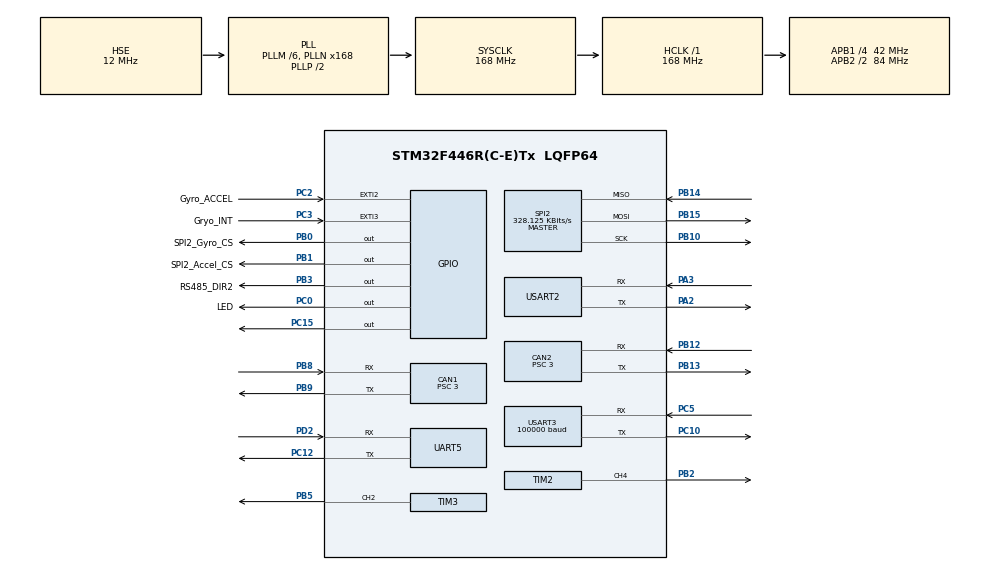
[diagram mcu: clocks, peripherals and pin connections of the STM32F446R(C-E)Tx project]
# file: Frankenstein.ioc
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CAN1.ABOM=ENABLE
CAN1.BS1=CAN_BS1_12TQ
CAN1.CalculateBaudRate=1000000
CAN1.CalculateTimeBit=1000
CAN1.CalculateTimeQuantum=71.42857142857143
CAN1.Prescaler=3
CAN2.ABOM=ENABLE
CAN2.BS1=CAN_BS1_12TQ
CAN2.CalculateBaudRate=1000000
CAN2.CalculateTimeBit=1000
CAN2.CalculateTimeQuantum=71.42857142857143
CAN2.Prescaler=3
Dma.Request0=SPI2_RX
Dma.Request1=SPI2_TX
Dma.Request2=UART5_RX
Dma.Request3=UART5_TX
Dma.Request4=USART2_RX
Dma.Request5=USART2_TX
Dma.Request6=USART3_RX
Dma.SPI2_RX.0.Direction=DMA_PERIPH_TO_MEMORY
Dma.SPI2_RX.0.FIFOMode=DMA_FIFOMODE_DISABLE
Dma.SPI2_RX.0.Instance=DMA1_Stream3
Dma.SPI2_RX.0.MemDataAlignment=DMA_MDATAALIGN_BYTE
Dma.SPI2_RX.0.MemInc=DMA_MINC_ENABLE
Dma.SPI2_RX.0.Mode=DMA_NORMAL
Dma.SPI2_RX.0.PeriphDataAlignment=DMA_PDATAALIGN_BYTE
Dma.SPI2_RX.0.PeriphInc=DMA_PINC_DISABLE
Dma.SPI2_RX.0.Priority=DMA_PRIORITY_VERY_HIGH
Dma.SPI2_TX.1.Direction=DMA_MEMORY_TO_PERIPH
Dma.SPI2_TX.1.FIFOMode=DMA_FIFOMODE_DISABLE
Dma.SPI2_TX.1.Instance=DMA1_Stream4
Dma.SPI2_TX.1.MemDataAlignment=DMA_MDATAALIGN_BYTE
Dma.SPI2_TX.1.MemInc=DMA_MINC_ENABLE
Dma.SPI2_TX.1.Mode=DMA_NORMAL
Dma.SPI2_TX.1.PeriphDataAlignment=DMA_PDATAALIGN_BYTE
Dma.SPI2_TX.1.PeriphInc=DMA_PINC_DISABLE
Dma.SPI2_TX.1.Priority=DMA_PRIORITY_HIGH
Dma.UART5_RX.2.Direction=DMA_PERIPH_TO_MEMORY
Dma.UART5_RX.2.FIFOMode=DMA_FIFOMODE_DISABLE
Dma.UART5_RX.2.Instance=DMA1_Stream0
Dma.UART5_RX.2.MemDataAlignment=DMA_MDATAALIGN_BYTE
Dma.UART5_RX.2.MemInc=DMA_MINC_ENABLE
Dma.UART5_RX.2.Mode=DMA_NORMAL
Dma.UART5_RX.2.PeriphDataAlignment=DMA_PDATAALIGN_BYTE
Dma.UART5_RX.2.PeriphInc=DMA_PINC_DISABLE
Dma.UART5_RX.2.Priority=DMA_PRIORITY_MEDIUM
Dma.UART5_TX.3.Direction=DMA_MEMORY_TO_PERIPH
Dma.UART5_TX.3.FIFOMode=DMA_FIFOMODE_DISABLE
Dma.UART5_TX.3.Instance=DMA1_Stream7
Dma.UART5_TX.3.MemDataAlignment=DMA_MDATAALIGN_BYTE
Dma.UART5_TX.3.MemInc=DMA_MINC_ENABLE
Dma.UART5_TX.3.Mode=DMA_NORMAL
Dma.UART5_TX.3.PeriphDataAlignment=DMA_PDATAALIGN_BYTE
Dma.UART5_TX.3.PeriphInc=DMA_PINC_DISABLE
Dma.UART5_TX.3.Priority=DMA_PRIORITY_MEDIUM
Dma.USART2_RX.4.Direction=DMA_PERIPH_TO_MEMORY
Dma.USART2_RX.4.FIFOMode=DMA_FIFOMODE_DISABLE
Dma.USART2_RX.4.Instance=DMA1_Stream5
Dma.USART2_RX.4.MemDataAlignment=DMA_MDATAALIGN_BYTE
Dma.USART2_RX.4.MemInc=DMA_MINC_ENABLE
Dma.USART2_RX.4.Mode=DMA_NORMAL
Dma.USART2_RX.4.PeriphDataAlignment=DMA_PDATAALIGN_BYTE
Dma.USART2_RX.4.PeriphInc=DMA_PINC_DISABLE
Dma.USART2_RX.4.Priority=DMA_PRIORITY_HIGH
Dma.USART2_TX.5.Direction=DMA_MEMORY_TO_PERIPH
Dma.USART2_TX.5.FIFOMode=DMA_FIFOMODE_DISABLE
Dma.USART2_TX.5.Instance=DMA1_Stream6
Dma.USART2_TX.5.MemDataAlignment=DMA_MDATAALIGN_BYTE
Dma.USART2_TX.5.MemInc=DMA_MINC_ENABLE
Dma.USART2_TX.5.Mode=DMA_NORMAL
Dma.USART2_TX.5.PeriphDataAlignment=DMA_PDATAALIGN_BYTE
Dma.USART2_TX.5.PeriphInc=DMA_PINC_DISABLE
Dma.USART2_TX.5.Priority=DMA_PRIORITY_HIGH
Dma.USART3_RX.6.Direction=DMA_PERIPH_TO_MEMORY
Dma.USART3_RX.6.FIFOMode=DMA_FIFOMODE_DISABLE
Dma.USART3_RX.6.Instance=DMA1_Stream1
Dma.USART3_RX.6.MemDataAlignment=DMA_MDATAALIGN_BYTE
Dma.USART3_RX.6.MemInc=DMA_MINC_ENABLE
Dma.USART3_RX.6.Mode=DMA_NORMAL
Dma.USART3_RX.6.PeriphDataAlignment=DMA_PDATAALIGN_BYTE
Dma.USART3_RX.6.PeriphInc=DMA_PINC_DISABLE
Dma.USART3_RX.6.Priority=DMA_PRIORITY_MEDIUM
FREERTOS.Tasks01=defaultTask,0,128,StartDefaultTask,Default,NULL,Dynamic,NULL,NULL
FREERTOS.configENABLE_FPU=1
FREERTOS.configUSE_NEWLIB_REENTRANT=1
Mcu.Family=STM32F4
Mcu.Name=STM32F446R(C-E)Tx
Mcu.Package=LQFP64
NVIC.CAN1_RX0_IRQn=true\:5\:0\:false\:false\:true\:true\:true\:true\:true
NVIC.CAN2_RX1_IRQn=true\:5\:0\:false\:false\:true\:true\:true\:true\:true
NVIC.DMA1_Stream0_IRQn=true\:5\:0\:false\:false\:true\:true\:false\:true\:true
NVIC.DMA1_Stream1_IRQn=true\:5\:0\:false\:false\:true\:true\:false\:true\:true
NVIC.DMA1_Stream3_IRQn=true\:5\:0\:false\:false\:true\:true\:false\:true\:true
NVIC.DMA1_Stream4_IRQn=true\:5\:0\:false\:false\:true\:true\:false\:true\:true
NVIC.DMA1_Stream5_IRQn=true\:5\:0\:false\:false\:true\:true\:false\:true\:true
NVIC.DMA1_Stream6_IRQn=true\:5\:0\:false\:false\:true\:true\:false\:true\:true
NVIC.DMA1_Stream7_IRQn=true\:5\:0\:false\:false\:true\:true\:false\:true\:true
NVIC.EXTI2_IRQn=true\:5\:0\:false\:false\:true\:true\:true\:true\:true
NVIC.EXTI3_IRQn=true\:5\:0\:false\:false\:true\:true\:true\:true\:true
NVIC.PriorityGroup=NVIC_PRIORITYGROUP_4
NVIC.TIM1_UP_TIM10_IRQn=true\:15\:0\:false\:false\:true\:false\:false\:true\:true
NVIC.TimeBase=TIM1_UP_TIM10_IRQn
NVIC.TimeBaseIP=TIM1
NVIC.UART5_IRQn=true\:5\:0\:false\:false\:true\:true\:true\:true\:true
NVIC.USART2_IRQn=true\:5\:0\:false\:false\:true\:true\:true\:true\:true
NVIC.USART3_IRQn=true\:5\:0\:false\:false\:true\:true\:true\:true\:true
PA13.Mode=Serial_Wire
PA13.Signal=SYS_JTMS-SWDIO
PA14.Mode=Serial_Wire
PA14.Signal=SYS_JTCK-SWCLK
PA2.Mode=Asynchronous
PA2.Signal=USART2_TX
PA3.Mode=Asynchronous
PA3.Signal=USART2_RX
PB0.GPIO_Label=SPI2_Gyro_CS
PB0.Signal=GPIO_Output
PB1.GPIO_Label=SPI2_Accel_CS
PB1.Signal=GPIO_Output
PB10.Mode=Full_Duplex_Master
PB10.Signal=SPI2_SCK
PB12.Mode=CAN_Activate
PB12.Signal=CAN2_RX
PB13.Mode=CAN_Activate
PB13.Signal=CAN2_TX
PB14.Mode=Full_Duplex_Master
PB14.Signal=SPI2_MISO
PB15.Mode=Full_Duplex_Master
PB15.Signal=SPI2_MOSI
PB2.Signal=S_TIM2_CH4
PB3.GPIO_Label=RS485_DIR2
PB3.GPIO_PuPd=GPIO_PULLDOWN
PB3.GPIO_Speed=GPIO_SPEED_FREQ_LOW
PB3.PinState=GPIO_PIN_RESET
PB3.Signal=GPIO_Output
PB5.Signal=S_TIM3_CH2
PB8.Mode=CAN_Activate
PB8.Signal=CAN1_RX
PB9.Mode=CAN_Activate
PB9.Signal=CAN1_TX
PC0.GPIO_Label=LED
PC0.Signal=GPIO_Output
PC10.Mode=Asynchronous
PC10.Signal=USART3_TX
PC12.Mode=Asynchronous
PC12.Signal=UART5_TX
PC15-OSC32_OUT.Signal=GPIO_Output
PC2.GPIO_Label=Gyro_ACCEL
PC2.GPIO_ModeDefaultEXTI=GPIO_MODE_IT_FALLING
PC2.GPIO_PuPd=GPIO_PULLUP
PC2.Signal=GPXTI2
PC3.GPIO_Label=Gryo_INT
PC3.GPIO_ModeDefaultEXTI=GPIO_MODE_IT_FALLING
PC3.GPIO_PuPd=GPIO_PULLUP
PC3.Signal=GPXTI3
PC5.Mode=Asynchronous
PC5.Signal=USART3_RX
PD2.Mode=Asynchronous
PD2.Signal=UART5_RX
PH0-OSC_IN.Mode=HSE-External-Oscillator
PH0-OSC_IN.Signal=RCC_OSC_IN
PH1-OSC_OUT.Mode=HSE-External-Oscillator
PH1-OSC_OUT.Signal=RCC_OSC_OUT
ProjectManager.HeapSize=0x1000
ProjectManager.StackSize=0x400
ProjectManager.TargetToolchain=STM32CubeIDE
RCC.AHBFreq_Value=168000000
RCC.APB1CLKDivider=RCC_HCLK_DIV4
RCC.APB1Freq_Value=42000000
RCC.APB1TimFreq_Value=84000000
RCC.APB2CLKDivider=RCC_HCLK_DIV2
RCC.APB2Freq_Value=84000000
RCC.APB2TimFreq_Value=168000000
RCC.CortexFreq_Value=168000000
RCC.HCLKFreq_Value=168000000
RCC.HSE_VALUE=12000000
RCC.PLLM=6
RCC.PLLN=168
RCC.PLLQ=7
RCC.PLLSourceVirtual=RCC_PLLSOURCE_HSE
RCC.SYSCLKFreq_VALUE=168000000
RCC.SYSCLKSource=RCC_SYSCLKSOURCE_PLLCLK
RCC.USBFreq_Value=48000000
RCC.VCOOutputFreq_Value=336000000
SH.S_TIM2_CH4.0=TIM2_CH4,PWM Generation4 CH4
SH.S_TIM3_CH2.0=TIM3_CH2,PWM Generation2 CH2
SPI2.BaudRatePrescaler=SPI_BAUDRATEPRESCALER_128
SPI2.CLKPhase=SPI_PHASE_2EDGE
SPI2.CLKPolarity=SPI_POLARITY_HIGH
SPI2.CalculateBaudRate=328.125 KBits/s
SPI2.Direction=SPI_DIRECTION_2LINES
SPI2.Mode=SPI_MODE_MASTER
SPI2.VirtualType=VM_MASTER
TIM2.Channel-PWM\ Generation4\ CH4=TIM_CHANNEL_4
TIM2.Period=29
TIM3.Channel-PWM\ Generation2\ CH2=TIM_CHANNEL_2
TIM3.Period=4999
UART5.VirtualMode=Asynchronous
USART2.VirtualMode=VM_ASYNC
USART3.BaudRate=100000
USART3.Mode=MODE_RX
USART3.VirtualMode=VM_ASYNC
USART3.WordLength=WORDLENGTH_9B
VP_FREERTOS_VS_CMSIS_V1.Mode=CMSIS_V1
VP_SYS_VS_tim1.Mode=TIM1
board=custom

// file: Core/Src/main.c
/* USER CODE BEGIN Header */
/**
  ******************************************************************************
  * @file           : main.c
  * @brief          : Main program body
  ******************************************************************************
  * @attention
  *
  * Copyright (c) 2023 STMicroelectronics.
  * All rights reserved.
  *
  * This software is licensed under terms that can be found in the LICENSE file
  * in the root directory of this software component.
  * If no LICENSE file comes with this software, it is provided AS-IS.
  *
  ******************************************************************************
  */
/* USER CODE END Header */
#include "main.h"
#include "cmsis_os.h"
#include "can.h"
#include "dma.h"
#include "spi.h"
#include "tim.h"
#include "usart.h"
#include "gpio.h"

/* USER CODE BEGIN Includes */
#include "music.h"
#include "BMI088driver.h"
/* USER CODE END Includes */

void SystemClock_Config(void);
void MX_FREERTOS_Init(void);

int main(void)
{

  /* MCU Configuration--------------------------------------------------------*/

  /* Reset of all peripherals, Initializes the Flash interface and the Systick. */
  HAL_Init();

  /* Configure the system clock */
  SystemClock_Config();

  /* Initialize all configured peripherals */
  MX_GPIO_Init();
  MX_DMA_Init();
  MX_TIM2_Init();
  MX_SPI2_Init();
  MX_TIM3_Init();
  MX_CAN1_Init();
  MX_CAN2_Init();
  MX_UART5_Init();
  MX_USART2_UART_Init();
  MX_USART3_UART_Init();

  /* Call init function for freertos objects (in freertos.c) */
  MX_FREERTOS_Init();

  /* Start scheduler */
  osKernelStart();

  /* We should never get here as control is now taken by the scheduler */
  /* Infinite loop */
  while (1)
  {

  }
}

void SystemClock_Config(void)
{
  RCC_OscInitTypeDef RCC_OscInitStruct = {0};
  RCC_ClkInitTypeDef RCC_ClkInitStruct = {0};

  /** Configure the main internal regulator output voltage
  */
  __HAL_RCC_PWR_CLK_ENABLE();
  __HAL_PWR_VOLTAGESCALING_CONFIG(PWR_REGULATOR_VOLTAGE_SCALE1);

  /** Initializes the RCC Oscillators according to the specified parameters
  * in the RCC_OscInitTypeDef structure.
  */
  RCC_OscInitStruct.OscillatorType = RCC_OSCILLATORTYPE_HSE;
  RCC_OscInitStruct.HSEState = RCC_HSE_ON;
  RCC_OscInitStruct.PLL.PLLState = RCC_PLL_ON;
  RCC_OscInitStruct.PLL.PLLSource = RCC_PLLSOURCE_HSE;
  RCC_OscInitStruct.PLL.PLLM = 6;
  RCC_OscInitStruct.PLL.PLLN = 168;
  RCC_OscInitStruct.PLL.PLLP = RCC_PLLP_DIV2;
  RCC_OscInitStruct.PLL.PLLQ = 7;
  RCC_OscInitStruct.PLL.PLLR = 2;
  if (HAL_RCC_OscConfig(&RCC_OscInitStruct) != HAL_OK)
  {
    Error_Handler();
  }

  /** Initializes the CPU, AHB and APB buses clocks
  */
  RCC_ClkInitStruct.ClockType = RCC_CLOCKTYPE_HCLK|RCC_CLOCKTYPE_SYSCLK
                              |RCC_CLOCKTYPE_PCLK1|RCC_CLOCKTYPE_PCLK2;
  RCC_ClkInitStruct.SYSCLKSource = RCC_SYSCLKSOURCE_PLLCLK;
  RCC_ClkInitStruct.AHBCLKDivider = RCC_SYSCLK_DIV1;
  RCC_ClkInitStruct.APB1CLKDivider = RCC_HCLK_DIV4;
  RCC_ClkInitStruct.APB2CLKDivider = RCC_HCLK_DIV2;

  if (HAL_RCC_ClockConfig(&RCC_ClkInitStruct, FLASH_LATENCY_5) != HAL_OK)
  {
    Error_Handler();
  }
}

void HAL_TIM_PeriodElapsedCallback(TIM_HandleTypeDef *htim)
{
  if (htim->Instance == TIM1) {
    HAL_IncTick();
  }
}

void Error_Handler(void)
{
  __disable_irq();
  while (1)
  {
  }
}

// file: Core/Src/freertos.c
/* USER CODE BEGIN Header */
/**
  ******************************************************************************
  * File Name          : freertos.c
  * Description        : Code for freertos applications
  ******************************************************************************
  * @attention
  *
  * Copyright (c) 2023 STMicroelectronics.
  * All rights reserved.
  *
  * This software is licensed under terms that can be found in the LICENSE file
  * in the root directory of this software component.
  * If no LICENSE file comes with this software, it is provided AS-IS.
  *
  ******************************************************************************
  */
/* USER CODE END Header */

#include "FreeRTOS.h"
#include "task.h"
#include "main.h"
#include "cmsis_os.h"

/* USER CODE BEGIN Includes */
#include "music.h"
#include "bsp_delay.h"
#include "CAN_receive_dm.h"
#include "can.h"
#include "lqr_wbr.h"
#include "vofa_setting.h"
#include "usart.h"
#include "ddt_m6_control.h"
#include "bsp_sbus.h"
/* USER CODE END Includes */

/* USER CODE BEGIN Variables */
osThreadId initTaskHandle;
osThreadId imuTaskHandle;
osThreadId vofaTaskHandle;
osThreadId lqrTaskHandle;

uint8_t board_init_flag = 0;
/* USER CODE END Variables */
osThreadId defaultTaskHandle;

/* USER CODE BEGIN FunctionPrototypes */
void InitBoardTask(void const * argument);
void StartImuTask(void const * argument);
void VofaOutputTask(void const * argument);
void LqrControlTask(void const * argument);
/* USER CODE END FunctionPrototypes */

void StartDefaultTask(void const * argument);

void MX_FREERTOS_Init(void); /* (MISRA C 2004 rule 8.1) */

/* GetIdleTaskMemory prototype (linked to static allocation support) */
void vApplicationGetIdleTaskMemory( StaticTask_t **ppxIdleTaskTCBBuffer, StackType_t **ppxIdleTaskStackBuffer, uint32_t *pulIdleTaskStackSize );

/* USER CODE BEGIN GET_IDLE_TASK_MEMORY */
static StaticTask_t xIdleTaskTCBBuffer;
static StackType_t xIdleStack[configMINIMAL_STACK_SIZE];

void vApplicationGetIdleTaskMemory( StaticTask_t **ppxIdleTaskTCBBuffer, StackType_t **ppxIdleTaskStackBuffer, uint32_t *pulIdleTaskStackSize )
{
  *ppxIdleTaskTCBBuffer = &xIdleTaskTCBBuffer;
  *ppxIdleTaskStackBuffer = &xIdleStack[0];
  *pulIdleTaskStackSize = configMINIMAL_STACK_SIZE;
  /* place for user code */
}
/* USER CODE END GET_IDLE_TASK_MEMORY */

void MX_FREERTOS_Init(void) {

  /* Create the thread(s) */
  /* definition and creation of defaultTask */
  osThreadDef(defaultTask, StartDefaultTask, osPriorityNormal, 0, 128);
  defaultTaskHandle = osThreadCreate(osThread(defaultTask), NULL);

  /* USER CODE BEGIN RTOS_THREADS */
  /* add threads, ... */
  osThreadDef(initTask, InitBoardTask, osPriorityIdle, 0, 128);                 //INIT task start
  initTaskHandle = osThreadCreate(osThread(initTask), NULL);

  osThreadDef(vofaTask, VofaOutputTask, osPriorityLow, 0, 128);                 //VOFA task start
  vofaTaskHandle = osThreadCreate(osThread(vofaTask), NULL);

  osThreadDef(imuTask, StartImuTask, osPriorityNormal, 0, 128);                 //IMU task start
  imuTaskHandle = osThreadCreate(osThread(imuTask), NULL);

  osThreadDef(lqrTask, LqrControlTask, osPriorityHigh, 0, 512);                //CONTROL task start
  lqrTaskHandle = osThreadCreate(osThread(lqrTask), NULL);
  /* USER CODE END RTOS_THREADS */

}

void StartDefaultTask(void const * argument)
{
  for(;;)
  {
      osDelay(1);
  }
}

/* USER CODE BEGIN Application */
/**
* @brief Function implementing the InitBoardTask thread.
* @param argument: Not used
* @retval None
*/
/**
  * @brief Function 初始化
  * @param argument: Not used
  * @retval none
  */
void InitBoardTask(void const * argument)
{
    delay_init();                                                //延时函数初始化
    CAN_Filter_Init(2);                              //CAN初始化
    HAL_GPIO_WritePin(LED_GPIO_Port,LED_Pin,GPIO_PIN_SET);
    init_music();                                                //一阵强劲的音乐响起
    /* Infinite loop */
    for(;;)
    {
        if(board_init_flag != 1)
        {
                start_motor(&hcan1,1);
                osDelay(5);
                start_motor(&hcan1,2);
                osDelay(5);
                start_motor(&hcan2,3);
                osDelay(5);
                start_motor(&hcan2,4);
                osDelay(5);
            DDT_motor_mode_CHANGE(&huart2,0x01,CURRENT_MODE);
            osDelay(5);
            DDT_motor_mode_CHANGE(&huart2,0x02,CURRENT_MODE);
            osDelay(5);
            if(DM_Motor_measure[0].id == 1 && DM_Motor_measure[1].id == 2 && DM_Motor_measure[2].id == 3 && DM_Motor_measure[3].id == 4)
            {
                board_init_flag = 1;//初始化检查通过完成
                HAL_GPIO_WritePin(LED_GPIO_Port,LED_Pin,GPIO_PIN_RESET);
            }
        }
        else
        {
            osDelay(4);
        }
    }
}
/* USER CODE BEGIN 0 */

/* USER CODE END 0 */

/* USER CODE END Application */
